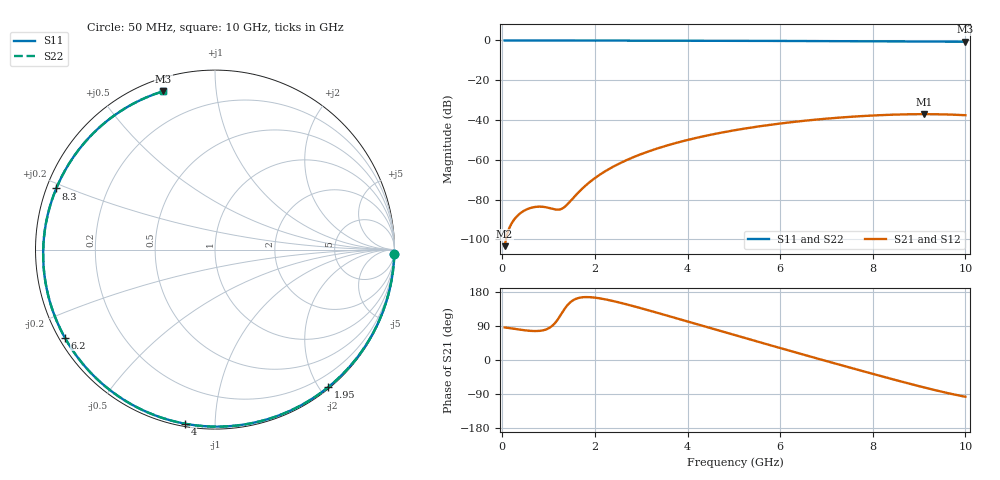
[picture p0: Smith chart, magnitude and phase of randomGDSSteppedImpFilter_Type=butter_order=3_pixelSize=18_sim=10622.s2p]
! freq	dB(S11)	phase(S11)	dB(S12)	phase(S12)
!  dB(S21)	phase(S21)	dB(S22)	phase(S22)
!S-par simulation data
#  GHz  S  DB  R 50
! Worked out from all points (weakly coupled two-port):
!   200 points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, 50 MHz to 10 GHz, reference 50 ohm
!   highest |S21| = -37.08 dB at 9.1 GHz (marker M1); lowest = -103.5 dB at 50 MHz (marker M2)
!   lowest |S11| = -0.6 dB at 10 GHz (marker M3), VSWR 26.81, Z = 2.84 + j36.2 ohm
!   |S11| at or under -10 dB: nowhere
!   |S22| runs from -0.6 to 0.0 dB; largest |S21 - S12| = 0
!   S11 on the Smith chart (normalised r, x): 50 MHz: 3, -89; 1.95 GHz: 0.02, -2.12; 4 GHz: 0.01, -0.84; 6.2 GHz: 0.02, -0.27; 8.3 GHz: 0.03, +0.19; 10 GHz: 0.06, +0.72
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0.05  -0.01 -1.3  -103.47 85.9  -103.47 85.9  -0.00 -1.3
0.75  -0.02 -19.8  -83.65 76.4  -83.65 76.4  -0.03 -19.8
1.5  -0.05 -39.2  -80.08 155.3  -80.08 155.3  -0.05 -39.2
1.75  -0.06 -45.6  -74.02 165.7  -74.02 165.7  -0.06 -45.6
1.95  -0.06 -50.6  -70.10 165.3  -70.10 165.3  -0.06 -50.6
2.25  -0.07 -58.1  -65.40 159.4  -65.40 159.4  -0.07 -58.1
2.6  -0.09 -66.7  -61.09 149.5  -61.09 149.5  -0.09 -66.7
3  -0.10 -76.3  -57.16 136.5  -57.16 136.5  -0.10 -76.3
3.4  -0.11 -85.8  -53.95 122.7  -53.95 122.7  -0.11 -85.8
4  -0.14 -99.8  -50.06 101.7  -50.06 101.7  -0.14 -99.8
4.5  -0.16 -111.2  -47.44 84.1  -47.44 84.1  -0.16 -111.2
5.05  -0.19 -123.6  -45.04 64.7  -45.04 64.7  -0.19 -123.7
5.65  -0.23 -137.2  -42.87 43.7  -42.87 43.7  -0.23 -137.2
6.2  -0.27 -149.7  -41.23 24.6  -41.23 24.6  -0.27 -149.7
6.7  -0.31 -161.2  -39.98 7.4  -39.98 7.4  -0.31 -161.2
7.5  -0.38 179.6  -38.44 -19.8  -38.44 -19.8  -0.38 179.5
7.9  -0.42 169.5  -37.87 -33.3  -37.87 -33.3  -0.42 169.4
8.3  -0.47 158.9  -37.44 -46.6  -37.44 -46.6  -0.47 158.9
8.35  -0.47 157.6  -37.40 -48.2  -37.40 -48.2  -0.47 157.6
9.1  -0.55 136.4  -37.08 -72.2  -37.08 -72.2  -0.55 136.3
9.6  -0.61 121.0  -37.23 -86.8  -37.23 -86.8  -0.61 121.0
10  -0.65 108.1  -37.61 -97.0  -37.61 -97.0  -0.65 108.1
